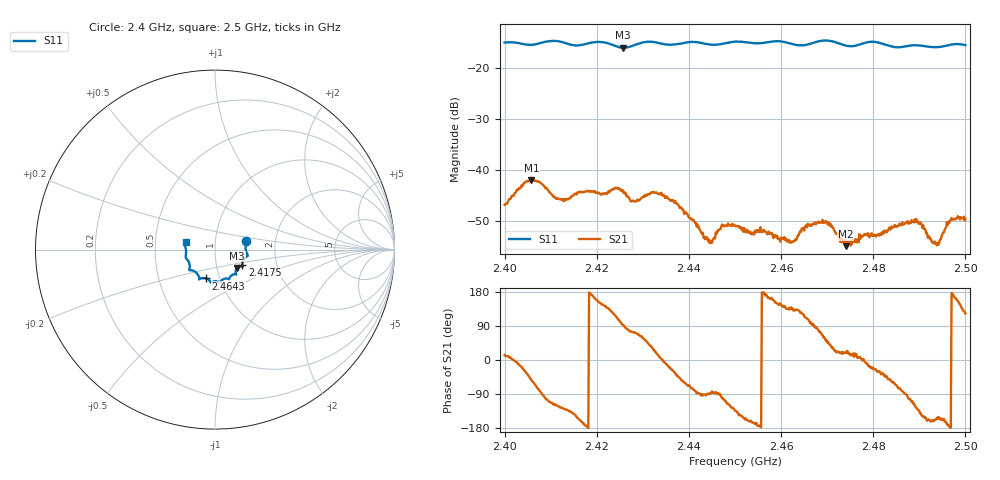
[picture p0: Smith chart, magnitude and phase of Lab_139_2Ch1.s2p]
# Hz S RI R 50
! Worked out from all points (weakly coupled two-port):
!   601 points, 2.4 GHz to 2.5 GHz, reference 50 ohm
!   highest |S21| = -41.94 dB at 2.4058 GHz (marker M1); lowest = -54.9 dB at 2.474 GHz (marker M2)
!   lowest |S11| = -15.9 dB at 2.4257 GHz (marker M3), VSWR 1.38, Z = 62.5 - j13.1 ohm
!   |S11| at or under -10 dB: start of sweep to end of sweep
!   S12 and S22 are empty: the file has one direction only
!   S11 on the Smith chart (normalised r, x): 2.4 GHz: 1.41, +0.14; 2.4175 GHz: 1.34, -0.23; 2.4643 GHz: 0.86, -0.29; 2.5 GHz: 0.72, +0.06
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2.4e9  0.1727 0.0488  0.00446 0.00103  0 0  0 0
2.405833e9  0.1704 0.00427  0.0047 -0.00648  0 0  0 0
2.412333e9  0.1784 -0.0382  -0.00307 -0.00422  0 0  0 0
2.416667e9  0.1528 -0.0741  -0.00584 -0.00179  0 0  0 0
2.4175e9  0.1517 -0.0836  -0.00607 -0.000808  0 0  0 0
2.425667e9  0.123 -0.1019  -0.000338 0.00634  0 0  0 0
2.427833e9  0.1147 -0.1215  0.00141 0.00477  0 0  0 0
2.433333e9  0.113 -0.1373  0.00568 0.00123  0 0  0 0
2.437333e9  0.0852 -0.1503  0.0037 -0.00297  0 0  0 0
2.4445e9  0.06 -0.1611  7.38e-05 -0.00192  0 0  0 0
2.4475e9  0.0377 -0.171  -0.000713 -0.0028  0 0  0 0
2.45e9  0.0289 -0.1811  -0.00198 -0.00208  0 0  0 0
2.462333e9  -0.0319 -0.1712  -0.00137 0.00139  0 0  0 0
2.464333e9  -0.0499 -0.1609  -0.00145 0.00201  0 0  0 0
2.466667e9  -0.0758 -0.1594  -0.000205 0.00284  0 0  0 0
2.47e9  -0.0883 -0.166  0.00206 0.00218  0 0  0 0
2.474e9  -0.0975 -0.1366  0.00168 0.000622  0 0  0 0
2.483333e9  -0.141 -0.09  0.00166 -0.00203  0 0  0 0
2.489167e9  -0.1629 -0.0444  -0.00171 -0.00258  0 0  0 0
2.493667e9  -0.1615 -0.00628  -0.00174 -0.00076  0 0  0 0
2.4965e9  -0.1683 0.0237  -0.00303 -0.000197  0 0  0 0
2.5e9  -0.1639 0.043  -0.00179 0.0028  0 0  0 0
